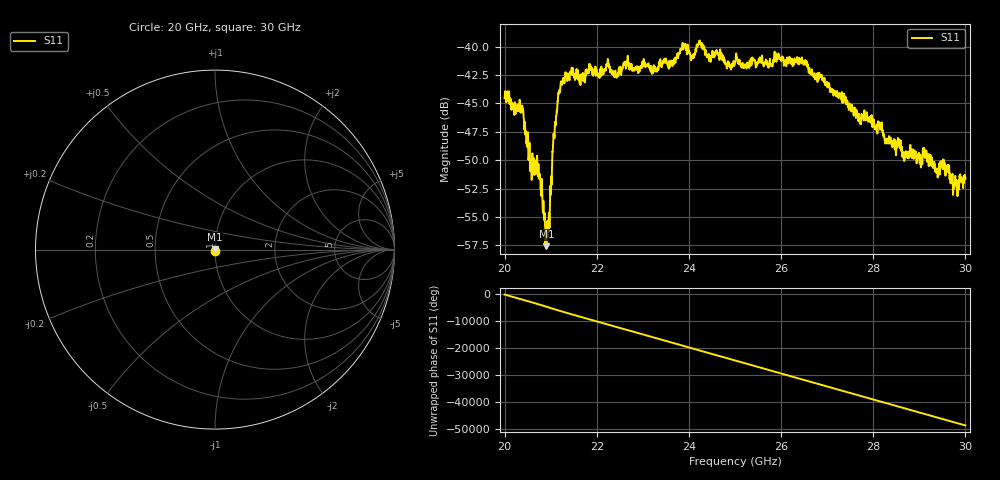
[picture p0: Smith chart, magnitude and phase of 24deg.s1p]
#  HZ  S  RI  R  50.00
! Rohde & Schwarz ZVA40 4Ports - Version 3.90 - 1145.1110k42 SN: 100403
! Date: 2023-10-03 11:43:27
! Measurement: S12
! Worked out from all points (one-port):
!   5001 points, 20 GHz to 30 GHz, reference 50 ohm
!   lowest |S11| = -57.6 dB at 20.91 GHz (marker M1), VSWR 1.00, Z = 50 + j0.124 ohm
!   |S11| at or under -10 dB: start of sweep to end of sweep
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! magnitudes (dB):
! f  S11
! 20 GHz  -44.5
! 20.37 GHz  -45.7
! 20.56 GHz  -50.4
! 20.77 GHz  -51.4
! 20.91 GHz  -57.6
! 20.93 GHz  -55.6
! 20.98 GHz  -54.9
! 21.1 GHz  -47.0
! 21.19 GHz  -43.9
! 21.25 GHz  -43.3
! 21.85 GHz  -42.0
! 22.5 GHz  -41.9
! 23.24 GHz  -41.7
! 23.75 GHz  -40.6
! 23.88 GHz  -40.1
! 24.08 GHz  -40.8
! 24.24 GHz  -39.7
! 24.43 GHz  -40.6
! 25 GHz  -41.4
! 26.25 GHz  -41.7
! 26.53 GHz  -41.3
! 27.5 GHz  -45.3
! 28.75 GHz  -49.5
! 29.12 GHz  -49.7
! 29.4 GHz  -51.5
! 29.5 GHz  -50.4
! 29.78 GHz  -51.4
! 30 GHz  -51.6
